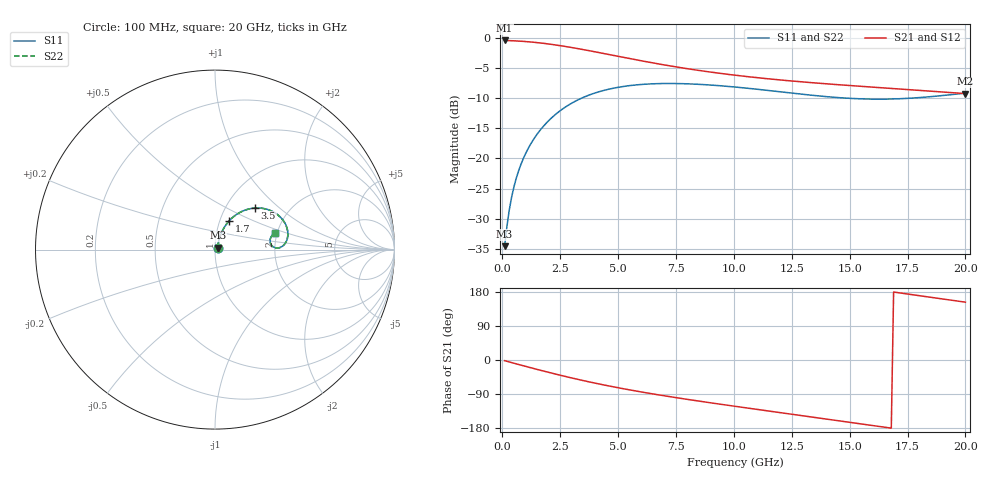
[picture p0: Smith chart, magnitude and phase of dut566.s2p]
! Touchstone file exported from HFSS 2024.1.0
!  File:  C:/UserFiles/LocalFiles/RDL_TSV_Batchsim/temp_RDL_TSV_566_1779753679.aedt
!  Generated:  08:18:30 AM May 26, 2026
!  Design:  RDL_TSV
!  Project:  temp_RDL_TSV_566_1779753679
!  Setup:  Setup1
!  Solution:  Sweep
! Variables:
!  dtsv = 5.15um
!  hbump = 3um
!  htsv = 58.17um
!  ldown = 650.53um
!  lrdl = 312.41um
!  p = 40
!  p1 = 51.45um
!  rhole = 10um
!  subl = 3201.23um
!  t = 450um
!  tdown = 2.71um
!  trdl = 2.73um
!  viad = 10um
!  wdown = 10.36um
!  wrdl = 27.87um
!  xbump = 18um
# GHz S MA R 50.000000
! Terminal data exported
! Port[1] = TM1_1_T1
! Port[2] = TM1_4_T1
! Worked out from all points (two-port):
!   200 points, 100 MHz to 20 GHz, reference 50 ohm
!   highest |S21| = -0.42 dB at 100 MHz (marker M1); lowest = -9.2 dB at 20 GHz (marker M2)
!   |S21| within 3 dB of the highest: start of sweep to 5.497 GHz
!   lowest |S11| = -34.5 dB at 100 MHz (marker M3), VSWR 1.04, Z = 51.5 + j1.14 ohm
!   |S11| at or under -10 dB: start of sweep to 3.42 GHz; 14.9 GHz to 17.62 GHz (2.719 GHz wide, 16.7 % of centre)
!   |S22| runs from -34.6 to -7.6 dB; largest |S21 - S12| = 8.2e-14
!   S11 on the Smith chart (normalised r, x): 100 MHz: 1.03, +0.02; 1.7 GHz: 1.11, +0.37; 3.5 GHz: 1.36, +0.70; 20 GHz: 1.95, +0.42
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0.1  0.01874 36.3  0.9528 -1.7  0.9528 -1.7  0.01871 36.3
! Gamma 0 0 0 0
! Port Impedance 50 0 50 0
0.2  0.0273 53.8  0.9517 -3.5  0.9517 -3.5  0.02725 53.8
0.3  0.03724 61.7  0.9501 -5.2  0.9501 -5.2  0.03717 61.6
0.4  0.04755 65.5  0.9484 -6.8  0.9484 -6.8  0.04745 65.4
0.6  0.06827 68.5  0.9442 -10.2  0.9442 -10.2  0.0681 68.5
0.8  0.08882 69.1  0.9393 -13.5  0.9393 -13.5  0.08858 69.0
1.1  0.1192 68.2  0.9301 -18.4  0.9301 -18.4  0.1189 68.2
1.7  0.1779 63.8  0.9058 -28.0  0.9058 -28.0  0.1774 63.9
2.1  0.2148 60.2  0.8856 -34.2  0.8856 -34.2  0.2142 60.2
2.6  0.2572 55.2  0.8572 -41.7  0.8572 -41.7  0.2566 55.2
3.5  0.3212 46.2  0.8003 -54.4  0.8003 -54.4  0.3205 46.2
4.2  0.3589 39.4  0.7545 -63.5  0.7545 -63.5  0.3582 39.4
4.9  0.3862 33.2  0.7101 -72.0  0.7101 -72.0  0.3855 33.2
5.8  0.408 26.0  0.6574 -82.2  0.6574 -82.2  0.4073 26.0
6.8  0.4181 19.2  0.6062 -92.5  0.6062 -92.5  0.4175 19.2
8.3  0.4139 11.2  0.5442 -106.7  0.5442 -106.7  0.4134 11.2
10.1  0.3908 4.8  0.4894 -122.6  0.4894 -122.6  0.3904 4.7
11.7  0.3629 1.9  0.4538 -136.3  0.4538 -136.3  0.3625 1.8
13.4  0.3341 1.9  0.4249 -150.7  0.4249 -150.7  0.3339 1.8
15.1  0.3147 4.8  0.4016 -165.2  0.4016 -165.2  0.3144 4.7
16.7  0.311 9.2  0.3823 -178.9  0.3823 -178.9  0.3107 9.1
20  0.3485 15.7  0.3454 152.6  0.3454 152.6  0.3479 15.5
